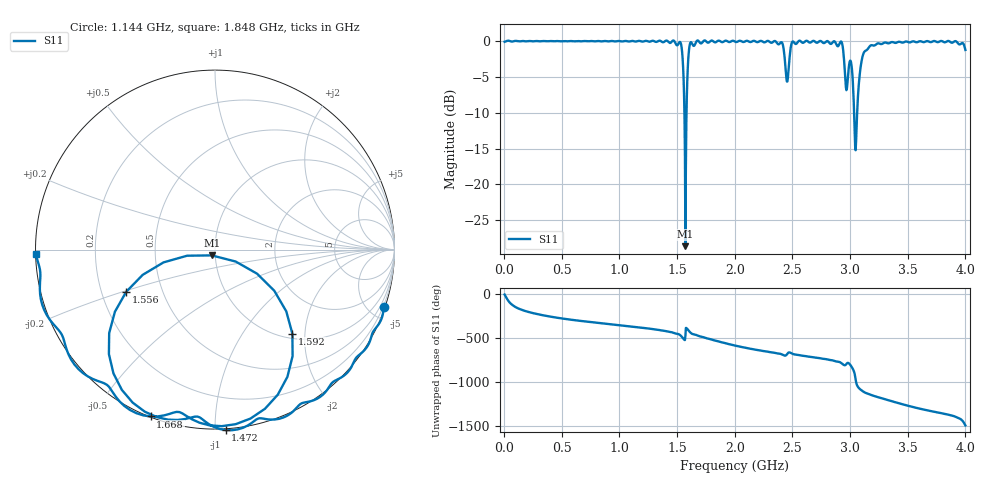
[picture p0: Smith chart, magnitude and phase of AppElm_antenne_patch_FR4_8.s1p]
! TOUCHSTONE file generated by CST MICROWAVE STUDIO
! Date and time: Tue Jun  7 20:51:58 2022
! Project name: AppElm_antenne_patch_FR4.cst
! Parameters = {L=45; W=58.5; e=0.035; h=1.6; lambda=0.190476; ls=120; w0=1.6; w1=0.533333; ws=120; y0=20; y1=26.19}
! Header version: 2018
! Port assignment regex: !\s*Touchstone port\s*([0-9]+)\s*=\s*(CST MWS port|CST DS port)\s*([0-9]+|Zmin|Zmax)\s*\(\"(.*)\"\)(\s*mode\s*([0-9]+))?.*
! Touchstone port assignment:
! Touchstone port 1 = CST MWS port 1 ("")
# GHz S MA R 50
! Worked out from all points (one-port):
!   1000 points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, 4 MHz to 4 GHz, reference 50 ohm
!   lowest |S11| = -28.6 dB at 1.572 GHz (marker M1), VSWR 1.08, Z = 48.1 - j3.11 ohm
!   |S11| at or under -10 dB: 1.563 GHz to 1.582 GHz (18.32 MHz wide, 1.17 % of centre); 3.035 GHz to 3.061 GHz (26.42 MHz wide, 0.867 % of centre)
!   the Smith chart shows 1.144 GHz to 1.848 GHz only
!   S11 on the Smith chart (normalised r, x): 1.144 GHz: 0.11, -6.05; 1.472 GHz: -0.01, -1.06; 1.556 GHz: 0.31, -0.21; 1.592 GHz: 1.09, -1.73; 1.668 GHz: 0.00, -0.69; 1.848 GHz: 0.00, -0.01
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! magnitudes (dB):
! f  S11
! 4 MHz  -0.1
! 504 MHz  0.0
! 1.004 GHz  0.0
! 1.144 GHz  0.0
! 1.472 GHz  0.1
! 1.504 GHz  -0.6
! 1.536 GHz  -0.6
! 1.544 GHz  -1.6
! 1.556 GHz  -5.2
! 1.572 GHz  -28.6
! 1.592 GHz  -3.9
! 1.6 GHz  -1.8
! 1.612 GHz  -0.3
! 1.668 GHz  0.0
! 1.848 GHz  0.0
! 2.004 GHz  -0.1
! 2.4 GHz  -0.2
! 2.452 GHz  -5.6
! 2.504 GHz  0.0
! 2.916 GHz  -0.1
! 2.968 GHz  -6.8
! 3.004 GHz  -2.7
! 3.036 GHz  -10.6
! 3.052 GHz  -14.0
! 3.092 GHz  -3.6
! 3.128 GHz  -1.4
! 3.504 GHz  -0.1
! 4 GHz  -1.2
